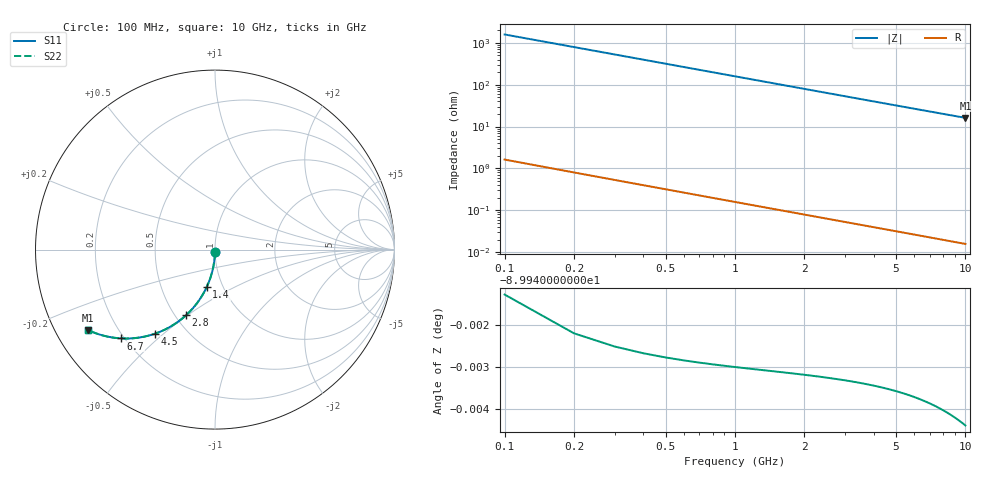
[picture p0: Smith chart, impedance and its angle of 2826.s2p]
# Hz S RI R 50.00
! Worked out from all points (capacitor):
!   100 points, 100 MHz to 10 GHz, reference 50 ohm
!   read as one part in shunt: C = 1 pF near 100 MHz
!   lowest |Z| = 16.2 ohm at 10 GHz (marker M1)
!   S11 on the Smith chart (normalised r, x): 100 MHz: 1.00, -0.03; 1.4 GHz: 0.84, -0.37; 2.8 GHz: 0.57, -0.49; 4.5 GHz: 0.34, -0.47; 6.7 GHz: 0.19, -0.39; 10 GHz: 0.10, -0.29
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1e8  -0.000248 -0.0157  0.9997 -0.0158  0.9997 -0.0158  -0.000248 -0.0157
2e8  -0.001 -0.0313  0.999 -0.0315  0.999 -0.0315  -0.001 -0.0313
3e8  -0.00225 -0.0469  0.9977 -0.0472  0.9977 -0.0472  -0.00225 -0.0469
4e8  -0.00399 -0.0624  0.996 -0.0629  0.996 -0.0629  -0.00399 -0.0624
5e8  -0.0062 -0.0778  0.9938 -0.0784  0.9938 -0.0784  -0.0062 -0.0778
6e8  -0.00889 -0.0931  0.9911 -0.0938  0.9911 -0.0938  -0.00889 -0.0931
7e8  -0.0121 -0.1083  0.9879 -0.1091  0.9879 -0.1091  -0.0121 -0.1083
9e8  -0.0197 -0.1381  0.9802 -0.1392  0.9802 -0.1392  -0.0197 -0.1381
1.1e9  -0.0292 -0.1671  0.9708 -0.1685  0.9708 -0.1685  -0.0292 -0.1671
1.4e9  -0.0463 -0.2088  0.9537 -0.2106  0.9537 -0.2106  -0.0463 -0.2088
1.8e9  -0.0742 -0.2605  0.9258 -0.2627  0.9258 -0.2627  -0.0742 -0.2605
2.3e9  -0.1155 -0.3177  0.8844 -0.3206  0.8844 -0.3206  -0.1155 -0.3177
2.8e9  -0.162 -0.3662  0.838 -0.3697  0.838 -0.3697  -0.162 -0.3662
3.4e9  -0.2215 -0.4126  0.7785 -0.4169  0.7785 -0.4169  -0.2215 -0.4126
3.9e9  -0.2721 -0.4421  0.7279 -0.447  0.7279 -0.447  -0.2721 -0.4421
4.5e9  -0.332 -0.4676  0.668 -0.4733  0.668 -0.4733  -0.332 -0.4676
5.1e9  -0.3893 -0.4839  0.6107 -0.4903  0.6107 -0.4903  -0.3893 -0.4839
5.9e9  -0.4599 -0.4942  0.54 -0.5016  0.54 -0.5016  -0.4599 -0.4942
6.7e9  -0.523 -0.4947  0.4769 -0.5032  0.4769 -0.5032  -0.523 -0.4947
7.5e9  -0.5784 -0.4885  0.4215 -0.4981  0.4215 -0.4981  -0.5784 -0.4885
8.4e9  -0.6322 -0.4763  0.3677 -0.4871  0.3677 -0.4871  -0.6322 -0.4763
1e10  -0.7086 -0.4474  0.2913 -0.4603  0.2913 -0.4603  -0.7086 -0.4474
